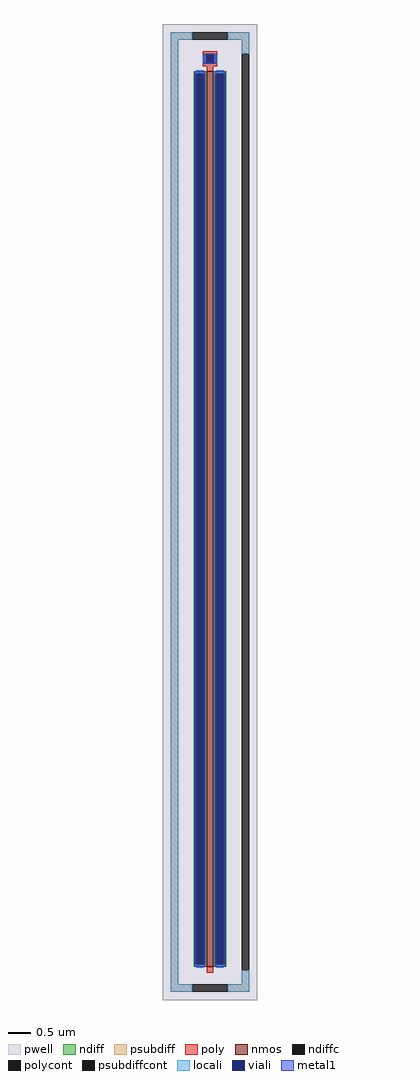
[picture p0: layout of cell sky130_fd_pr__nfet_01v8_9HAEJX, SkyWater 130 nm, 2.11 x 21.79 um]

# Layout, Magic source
magic
tech sky130A
magscale 1 2
<< pwell >>
rect -211 -2179 211 2179
<< nmos >>
rect -15 -2031 15 1969
<< ndiff >>
rect -73 1957 -15 1969
rect -73 -2019 -61 1957
rect -27 -2019 -15 1957
rect -73 -2031 -15 -2019
rect 15 1957 73 1969
rect 15 -2019 27 1957
rect 61 -2019 73 1957
rect 15 -2031 73 -2019
<< ndiffc >>
rect -61 -2019 -27 1957
rect 27 -2019 61 1957
<< psubdiff >>
rect -175 2109 -79 2143
rect 79 2109 175 2143
rect -175 -2109 -141 2109
rect 141 2047 175 2109
rect 141 -2109 175 -2047
rect -175 -2143 -79 -2109
rect 79 -2143 175 -2109
<< psubdiffcont >>
rect -79 2109 79 2143
rect 141 -2047 175 2047
rect -79 -2143 79 -2109
<< poly >>
rect -33 2041 33 2057
rect -33 2007 -17 2041
rect 17 2007 33 2041
rect -33 1991 33 2007
rect -15 1969 15 1991
rect -15 -2057 15 -2031
<< polycont >>
rect -17 2007 17 2041
<< locali >>
rect -175 2109 -79 2143
rect 79 2109 175 2143
rect -175 -2109 -141 2109
rect 141 2047 175 2109
rect -33 2007 -17 2041
rect 17 2007 33 2041
rect -61 1957 -27 1973
rect -61 -2035 -27 -2019
rect 27 1957 61 1973
rect 27 -2035 61 -2019
rect 141 -2109 175 -2047
rect -175 -2143 -79 -2109
rect 79 -2143 175 -2109
<< viali >>
rect -17 2007 17 2041
rect -61 -2019 -27 1957
rect 27 -2019 61 1957
<< metal1 >>
rect -29 2041 29 2047
rect -29 2007 -17 2041
rect 17 2007 29 2041
rect -29 2001 29 2007
rect -67 1957 -21 1969
rect -67 -2019 -61 1957
rect -27 -2019 -21 1957
rect -67 -2031 -21 -2019
rect 21 1957 67 1969
rect 21 -2019 27 1957
rect 61 -2019 67 1957
rect 21 -2031 67 -2019
<< properties >>
string FIXED_BBOX -158 -2126 158 2126
string gencell sky130_fd_pr__nfet_01v8
string library sky130
string parameters w 20.0 l 0.15 m 1 nf 1 diffcov 100 polycov 100 guard 1 glc 0 grc 1 gtc 1 gbc 1 tbcov 100 rlcov 100 topc 1 botc 0 poverlap 0 doverlap 1 lmin 0.15 wmin 0.42 compatible {sky130_fd_pr__nfet_01v8 sky130_fd_pr__nfet_01v8_lvt  sky130_fd_bs_flash__special_sonosfet_star  sky130_fd_pr__nfet_g5v0d10v5 sky130_fd_pr__nfet_05v0_nvt  sky130_fd_pr__nfet_03v3_nvt} full_metal 1 viasrc 100 viadrn 100 viagate 100 viagb 0 viagr 0 viagl 0 viagt 0
<< end >>
